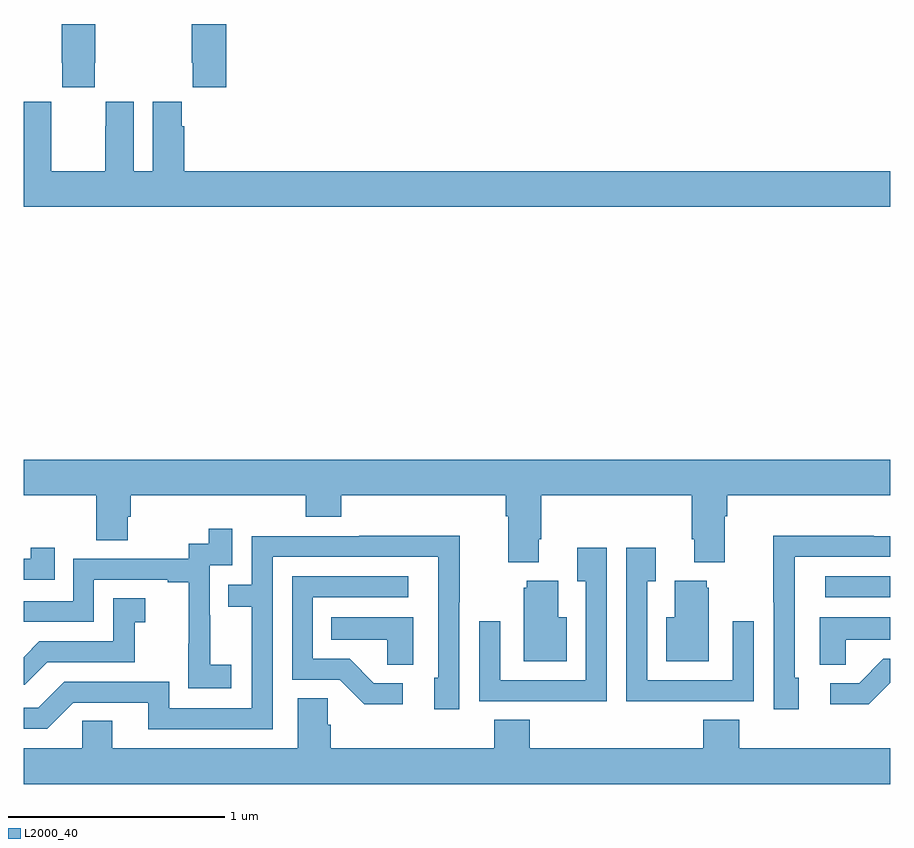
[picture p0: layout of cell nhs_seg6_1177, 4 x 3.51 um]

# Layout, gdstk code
import gdstk
lib = gdstk.Library(unit=1e-6, precision=1e-09)
def R(c, l, rs):  # rectangles x0, y0, x1, y1
    for r in rs: c.add(gdstk.rectangle(r[:2], r[2:], *l))
def P(c, l, *ps):  # polygons
    for p in ps: c.add(gdstk.Polygon(p, *l))
L2000_40 = (2000, 40)

nhs_seg6_1177 = lib.new_cell('nhs_seg6_1177')
R(nhs_seg6_1177, L2000_40, [(186.699,958.854,187,958.95)])
P(nhs_seg6_1177, L2000_40, [(183.327,961.321),(183.33,961.321),(183.33,961.5),(183.175,961.5),(183.175,961.321),(183.177,961.321),(183.177,961.209),(183.327,961.209)],
  [(183.935,961.5),(183.775,961.5),(183.775,961.321),(183.781,961.321),(183.781,961.209),(183.935,961.209)],
  [(187,960.82),(183.74,960.82),(183.74,961.028),(183.73,961.028),(183.73,961.141),(183.596,961.141),(183.596,960.82),(183.508,960.82),(183.508,961.141),(183.378,961.141),(183.378,961.028),(183.377,961.028),(183.377,960.82),(183.127,960.82),(183.127,961.028),(183.126,961.028),(183.126,961.141),(183,961.141),(183,960.656),(187,960.656)],
  [(185.377,959.122),(185.39,959.122),(185.39,959.324),(186.083,959.324),(186.083,959.122),(186.095,959.122),(186.095,959.015),(186.235,959.015),(186.235,959.228),(186.248,959.228),(186.248,959.324),(187,959.324),(187,959.488),(183,959.488),(183,959.324),(183.334,959.324),(183.334,959.116),(183.481,959.116),(183.481,959.226),(183.494,959.226),(183.494,959.324),(184.301,959.324),(184.301,959.225),(184.466,959.225),(184.466,959.324),(185.225,959.324),(185.225,959.228),(185.237,959.228),(185.237,959.015),(185.377,959.015)],
  [(183.958,958.543),(183.86,958.543),(183.86,958.772),(183.858,958.772),(183.858,959.001),(183.963,959.001),(183.963,959.17),(183.855,959.17),(183.855,959.1),(183.762,959.1),(183.762,959.031),(183.228,959.031),(183.228,958.836),(183,958.836),(183,958.74),(183.324,958.74),(183.324,958.935),(183.665,958.935),(183.665,958.923),(183.761,958.923),(183.761,958.639),(183.76,958.639),(183.76,958.433),(183.958,958.433)],
  [(184.149,959.04),(184.914,959.04),(184.914,958.482),(184.895,958.482),(184.895,958.338),(185.01,958.338),(185.01,958.831),(185.013,958.831),(185.013,959.138),(184.549,959.138),(184.549,959.136),(184.053,959.136),(184.053,958.911),(183.943,958.911),(183.943,958.81),(184.053,958.81),(184.053,958.341),(183.672,958.341),(183.672,958.464),(183.186,958.464),(183.066,958.344),(183,958.344),(183,958.248),(183.108,958.248),(183.228,958.368),(183.575,958.368),(183.575,958.245),(184.149,958.245)],
  [(186.577,958.482),(186.558,958.482),(186.558,959.04),(187,959.04),(187,959.136),(186.923,959.136),(186.923,959.138),(186.46,959.138),(186.46,958.831),(186.462,958.831),(186.462,958.338),(186.577,958.338)],
  [(186.053,958.374),(186.369,958.374),(186.369,958.744),(186.273,958.744),(186.273,958.47),(185.877,958.47),(185.877,958.927),(185.917,958.927),(185.917,959.083),(185.781,959.083),(185.781,958.373),(186.053,958.373)],
  [(185.691,959.083),(185.555,959.083),(185.555,958.927),(185.595,958.927),(185.595,958.47),(185.199,958.47),(185.199,958.744),(185.103,958.744),(185.103,958.374),(185.419,958.374),(185.419,958.373),(185.691,958.373)],
  [(183.143,959.083),(183.032,959.083),(183.032,959.031),(183,959.031),(183,958.935),(183.143,958.935)],
  [(184.75,958.458),(184.615,958.458),(184.504,958.569),(184.335,958.569),(184.335,958.854),(184.774,958.854),(184.774,958.95),(184.239,958.95),(184.239,958.473),(184.458,958.473),(184.571,958.361),(184.75,958.361)],
  [(186.163,958.899),(186.152,958.899),(186.152,958.93),(186.005,958.93),(186.005,958.762),(185.966,958.762),(185.966,958.559),(186.163,958.559)],
  [(185.506,958.762),(185.467,958.762),(185.467,958.93),(185.321,958.93),(185.321,958.899),(185.309,958.899),(185.309,958.559),(185.506,958.559)],
  [(183.109,958.554),(183.513,958.554),(183.513,958.739),(183.562,958.739),(183.562,958.849),(183.414,958.849),(183.414,958.65),(183.072,958.65),(183,958.578),(183,958.449),(183.004,958.449)],
  [(186.795,958.658),(187,958.658),(187,958.762),(186.674,958.762),(186.674,958.543),(186.795,958.543)],
  [(184.798,958.762),(184.42,958.762),(184.42,958.658),(184.677,958.658),(184.677,958.543),(184.798,958.543)],
  [(187,958.459),(187,958.569),(186.968,958.569),(186.857,958.458),(186.723,958.458),(186.723,958.361),(186.901,958.361)],
  [(187,958.156),(186.302,958.156),(186.302,958.289),(186.137,958.289),(186.137,958.156),(185.336,958.156),(185.336,958.289),(185.171,958.289),(185.171,958.156),(184.418,958.156),(184.418,958.265),(184.404,958.265),(184.404,958.388),(184.265,958.388),(184.265,958.156),(183.409,958.156),(183.409,958.283),(183.27,958.283),(183.27,958.156),(183,958.156),(183,957.992),(187,957.992)])

lib.write_gds('nhs_seg6_1177.gds')
